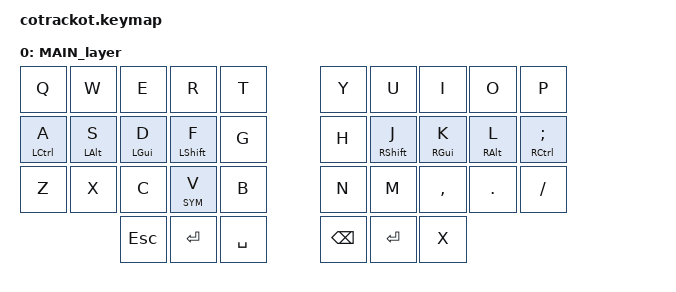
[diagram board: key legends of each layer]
/*
* Copyright (c) 2021 The ZMK Contributors
*
* SPDX-License-Identifier: MIT
*/

#include <behaviors.dtsi>
#include <dt-bindings/zmk/keys.h>
#include <dt-bindings/zmk/bt.h>

#define MAIN 0

&mt {
    flavor = "tap-preferred";
    tapping-term-ms = <140>;
};

/ {
    combos {
        compatible = "zmk,combos";

        combo_esc {
            timeout-ms = <100>;
            key-positions = <21 22>;
            bindings = <&kp ESC>;
        };

        combo_tab {
            timeout-ms = <100>;
            key-positions = <22 23>;
            bindings = <&kp TAB>;
        };

        combo_minus {
            timeout-ms = <100>;
            key-positions = <26 27>;
            bindings = <&kp MINUS>;
        };

        combo_underscore {
            timeout-ms = <100>;
            key-positions = <26 28>;
            bindings = <&kp UNDERSCORE>;
        };

        combo_colon {
            timeout-ms = <100>;
            key-positions = <7 8>;
            bindings = <&kp COLON>;
        };

        combo_semicolon {
            timeout-ms = <100>;
            key-positions = <6 8>;
            bindings = <&kp SEMICOLON>;
        };

        combo_backslash {
            timeout-ms = <100>;
            key-positions = <27 28>;
            bindings = <&kp BSLH>;
        };

        combo_grave {
            timeout-ms = <100>;
            key-positions = <8 9>;
            bindings = <&kp GRAVE>;
        };
    };

    keymap {
        compatible = "zmk,keymap";

        MAIN_layer {
            bindings = <
                &kp Q       &kp W      &kp E       &kp R        &kp T                   &kp Y     &kp U       &kp I           &kp O        &kp P          
                &mt LCTRL A &mt LALT S &mt LGUI D  &mt LSHFT F  &kp G                   &kp H     &mt RSHFT J &mt RGUI K      &mt RALT L   &mt RCTRL SEMI
                &kp Z       &kp X      &kp C       &lt SYM V    &kp B                   &kp N     &kp M       &kp COMMA       &kp DOT      &kp SLASH       
                                       &kp ESC     &kp ENTER    &kp SPACE               &kp BSPC  &kp ENTER   &kp X
            >;
        };
    };
};
